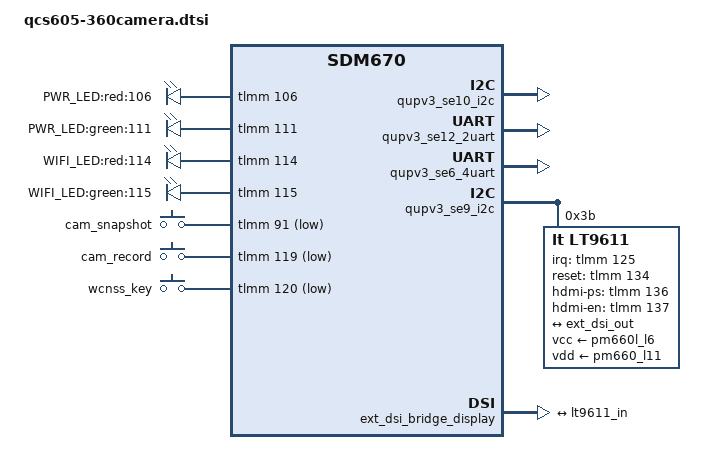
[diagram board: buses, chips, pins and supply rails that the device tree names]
/*
 * Copyright (c) 2017-2019, The Linux Foundation. All rights reserved.
 *
 * This program is free software; you can redistribute it and/or modify
 * it under the terms of the GNU General Public License version 2 and
 * only version 2 as published by the Free Software Foundation.
 *
 * This program is distributed in the hope that it will be useful,
 * but WITHOUT ANY WARRANTY; without even the implied warranty of
 * MERCHANTABILITY or FITNESS FOR A PARTICULAR PURPOSE.  See the
 * GNU General Public License for more details.
 */

#include "sdm670-mtp.dtsi"
#include "sdm670-camera-sensor-360camera.dtsi"
#include "sdm670-audio-overlay.dtsi"

&qupv3_se3_i2c {
	status = "disabled";
};

&qupv3_se10_i2c {
	status = "okay";
};

&qupv3_se12_2uart {
	status = "okay";
};

&qupv3_se6_4uart {
	status = "okay";
};

&qupv3_se13_i2c {
	status = "disabled";
};

&qupv3_se13_spi {
	status = "disabled";
};

&dsi_dual_nt36850_truly_cmd_display {
	status = "disabled";
};

&dsi_dual_nt35597_truly_video_display {
	status = "disabled";
};

&mdss_mdp {
	bridges = <&lt9611>;
};

&qupv3_se9_i2c {
	status = "okay";

	lt9611: lt,lt9611@3b {
		compatible = "lt,lt9611";
		reg = <0x3b>;
		interrupt-parent = <&tlmm>;
		interrupts = <125 0>;
		interrupt-names = "lt_irq";
		lt,irq-gpio = <&tlmm 125 0x0>;
		lt,reset-gpio = <&tlmm 134 0x0>;
		lt,hdmi-ps-gpio = <&tlmm 136 0x0>;
		lt,hdmi-en-gpio = <&tlmm 137 0x0>;
		lt,non-pluggable;
		lt,preferred-mode = "1920x1080";

		vcc-supply = <&pm660l_l6>;
		vdd-supply = <&pm660_l11>;
		lt,supply-entries {
			#address-cells = <1>;
			#size-cells = <0>;

			lt,supply-entry@0 {
				reg = <0>;
				lt,supply-name = "vcc";
				lt,supply-min-voltage = <3300000>;
				lt,supply-max-voltage = <3300000>;
				lt,supply-enable-load = <200000>;
				lt,supply-post-on-sleep = <50>;
			};

			lt,supply-entry@1 {
				reg = <1>;
				lt,supply-name = "vdd";
				lt,supply-min-voltage = <1800000>;
				lt,supply-max-voltage = <1800000>;
				lt,supply-enable-load = <200000>;
				lt,supply-post-on-sleep = <50>;
			};
		};

		lt,customize-modes {
			lt,customize-mode-id@0 {
				lt,mode-h-active = <1920>;
				lt,mode-h-front-porch = <88>;
				lt,mode-h-pulse-width = <44>;
				lt,mode-h-back-porch = <148>;
				lt,mode-h-active-high;
				lt,mode-v-active = <1080>;
				lt,mode-v-front-porch = <4>;
				lt,mode-v-pulse-width = <5>;
				lt,mode-v-back-porch = <36>;
				lt,mode-v-active-high;
				lt,mode-refresh-rate = <60>;
				lt,mode-clock-in-khz = <148500>;
			};

			lt,customize-mode-id@1 {
				lt,mode-h-active = <3840>;
				lt,mode-h-front-porch = <176>;
				lt,mode-h-pulse-width = <88>;
				lt,mode-h-back-porch = <296>;
				lt,mode-h-active-high;
				lt,mode-v-active = <2160>;
				lt,mode-v-front-porch = <8>;
				lt,mode-v-pulse-width = <10>;
				lt,mode-v-back-porch = <72>;
				lt,mode-v-active-high;
				lt,mode-refresh-rate = <30>;
				lt,mode-clock-in-khz = <297000>;
			};
		};

		ports {
			#address-cells = <1>;
			#size-cells = <0>;

			port@0 {
				reg = <0>;
				lt9611_in: endpoint {
					remote-endpoint = <&ext_dsi_out>;
				};
			};
		};
	};
};

&ext_dsi_bridge_display {
	qcom,dsi-display-active;

	ports {
		port@0 {
			endpoint {
				remote-endpoint = <&lt9611_in>;
			};
		};
	};
};

/delete-node/ &mtp_batterydata;

&vendor {
	qcs_batterydata: qcom,battery-data {
		qcom,batt-id-range-pct = <15>;
		#include "fg-gen3-batterydata-vrcamera-1300mah.dtsi"
	};
};

&pm660_fg {
	qcom,fg-force-load-profile;
	qcom,battery-data = <&qcs_batterydata>;
};

&pm660_charger {
	qcom,battery-data = <&qcs_batterydata>;
	qcom,thermal-mitigation = <2600000 2100000 1600000 1100000
				600000>;
	qcom,sw-jeita-enable;
};

&int_codec {
	qcom,model = "sdm670-360cam-snd-card";
	qcom,audio-routing =
		"RX_BIAS", "INT_MCLK0",
		"SPK_RX_BIAS", "INT_MCLK0",
		"INT_LDO_H", "INT_MCLK0",
		"DMIC1", "MIC BIAS External",
		"MIC BIAS External", "Digital Mic1",
		"DMIC2", "MIC BIAS External",
		"MIC BIAS External", "Digital Mic2",
		"DMIC3", "MIC BIAS External2",
		"MIC BIAS External2", "Digital Mic3",
		"DMIC4", "MIC BIAS External2",
		"MIC BIAS External2", "Digital Mic4",
		"MICBIAS_REGULATOR", "VDDA18_L10_REGULATOR",
		"VDDA18_L10_REGULATOR", "VDD_L1_REGULATOR",
		"PDM_IN_RX1", "PDM_OUT_RX1",
		"PDM_IN_RX2", "PDM_OUT_RX2",
		"PDM_IN_RX3", "PDM_OUT_RX3",
		"ADC1_IN", "ADC1_OUT",
		"ADC2_IN", "ADC2_OUT",
		"ADC3_IN", "ADC3_OUT";
	qcom,wsa-max-devs = <0>;
};

&tlmm {
	pwr_led_green_default: pwr_led_green_default {
		mux {
			pins = "gpio106";
			function = "gpio";
		};
		config {
			pins = "gpio106";
			drive-strength = <8>;   /* 8 mA */
			bias-disable;
			output-low;
		};
	};

	pwr_led_red_default: pwr_led_red_default {
		mux {
			pins = "gpio111";
			function = "gpio";
		};
		config {
			pins = "gpio111";
			drive-strength = <8>;   /* 8 mA */
			bias-disable;
			output-low;
		};
	};

	wifi_led_green_default: wifi_led_green_default {
		mux {
			pins = "gpio114";
			function = "gpio";
		};
		config {
			pins = "gpio114";
			drive-strength = <8>;   /* 8 mA */
			bias-disable;
			output-low;
		};
	};

	wifi_led_red_default: wifi_led_red_default {
		mux {
			pins = "gpio115";
			function = "gpio";
		};
		config {
			pins = "gpio115";
			drive-strength = <8>;   /* 8 mA */
			bias-disable;
			output-low;
		};
	};

	key_wcnss_default: key_wcnss_default {
		mux {
			pins = "gpio120";
			function = "gpio";
		};
		config {
			pins = "gpio120";
			drive-strength = <8>;   /* 8 mA */
			bias-pull-up;
			input-enable;
		};
	};

	key_record_default: key_record_default {
		mux {
			pins = "gpio119";
			function = "gpio";
		};
		config {
			pins = "gpio119";
			drive-strength = <8>;   /* 8 mA */
			bias-pull-up;
			input-enable;
		};
	};

	key_snapshot_default: key_snapshot_default {
		mux {
			pins = "gpio91";
			function = "gpio";
		};
		config {
			pins = "gpio91";
			drive-strength = <8>;   /* 8 mA */
			bias-pull-up;
			input-enable;
		};
	};
};

&soc {
	gpio-leds {
		compatible = "gpio-leds";
		pinctrl-names = "default";
		pinctrl-0 = <&pwr_led_green_default
				&pwr_led_red_default
				&wifi_led_green_default
				&wifi_led_red_default>;
		status = "okay";
		vdd_ldo_1-supply = <&pm660_l15>;
		vdd_ldo_2-supply = <&pm660_l17>;

		led@1 {
			label = "PWR_LED:red:106";
			gpios = <&tlmm 106 GPIO_ACTIVE_HIGH>;
			linux,default-trigger = "wlan";
			default-state = "off";
		};

		led@2 {
			label = "PWR_LED:green:111";
			gpios = <&tlmm 111 GPIO_ACTIVE_HIGH>;
			linux,default-trigger = "wlan";
			default-state = "on";
		};

		led@3 {
			label = "WIFI_LED:red:114";
			gpios = <&tlmm 114 GPIO_ACTIVE_HIGH>;
			linux,default-trigger = "wlan";
			default-state = "on";
		};

		led@4 {
			label = "WIFI_LED:green:115";
			gpios = <&tlmm 115 GPIO_ACTIVE_HIGH>;
			linux,default-trigger = "wlan";
			default-state = "off";
		};
	};

	gpio_keys {
		compatible = "gpio-keys";
		label = "gpio-keys";

		pinctrl-names = "default";
		pinctrl-0 = <&key_snapshot_default
				&key_record_default
				&key_wcnss_default>;
		status = "okay";
		cam_snapshot {
			label = "cam_snapshot";
			gpios = <&tlmm 91 GPIO_ACTIVE_LOW>;
			linux,input-type = <1>;
			linux,code = <767>;
			gpio-key,wakeup;
			debounce-interval = <15>;
			linux,can-disable;
		};

		cam_record {
			label = "cam_record";
			gpios = <&tlmm 119 GPIO_ACTIVE_LOW>;
			linux,input-type = <1>;
			linux,code = <766>;
			gpio-key,wakeup;
			debounce-interval = <15>;
			linux,can-disable;
		};

		wcnss_key {
			label = "wcnss_key";
			gpios = <&tlmm 120 GPIO_ACTIVE_LOW>;
			linux,input-type = <1>;
			linux,code = <528>;
			gpio-key,wakeup;
			debounce-interval = <15>;
			linux,can-disable;
		};
	};
};
&pm660_vadc{

	chan@4e {
		label = "emmc_therm";
		reg = <0x4e>;
		qcom,decimation = <2>;
		qcom,pre-div-channel-scaling = <0>;
		qcom,calibration-type = "ratiometric";
		qcom,scale-function = <2>;
		qcom,hw-settle-time = <2>;
		qcom,fast-avg-setup = <0>;
	};

	chan@4f {
		label = "pa_therm0";
		reg = <0x4f>;
		qcom,decimation = <2>;
		qcom,pre-div-channel-scaling = <0>;
		qcom,calibration-type = "ratiometric";
		qcom,scale-function = <2>;
		qcom,hw-settle-time = <2>;
		qcom,fast-avg-setup = <0>;
	};
};

&pm660_adc_tm{

	chan@4e {
		label = "emmc_therm";
		reg = <0x4e>;
		qcom,pre-div-channel-scaling = <0>;
		qcom,calibration-type = "ratiometric";
		qcom,scale-function = <2>;
		qcom,hw-settle-time = <2>;
		qcom,btm-channel-number = <0x80>;
		qcom,thermal-node;
	};

	chan@4f {
		label = "pa_therm0";
		reg = <0x4f>;
		qcom,pre-div-channel-scaling = <0>;
		qcom,calibration-type = "ratiometric";
		qcom,scale-function = <2>;
		qcom,hw-settle-time = <2>;
		qcom,btm-channel-number = <0x88>;
		qcom,thermal-node;
	};
};

&msm_fastrpc_compute_cb1 {
	/delete-property/ dma-coherent;
};

&msm_fastrpc_compute_cb2 {
	/delete-property/ dma-coherent;
};

&msm_fastrpc_compute_cb3 {
	/delete-property/ dma-coherent;
};

&msm_fastrpc_compute_cb4 {
	/delete-property/ dma-coherent;
};

&msm_fastrpc_compute_cb5 {
	/delete-property/ dma-coherent;
};

&msm_fastrpc_compute_cb6 {
	/delete-property/ dma-coherent;
};

&msm_fastrpc_compute_cb7 {
	/delete-property/ dma-coherent;
};

&msm_fastrpc_compute_cb8 {
	/delete-property/ dma-coherent;
};

&msm_fastrpc_compute_cb9 {
	/delete-property/ dma-coherent;
};

&msm_fastrpc_compute_cb10 {
	/delete-property/ dma-coherent;
};

&msm_fastrpc_compute_cb11 {
	/delete-property/ dma-coherent;
};

&msm_fastrpc_compute_cb12 {
	/delete-property/ dma-coherent;
};
